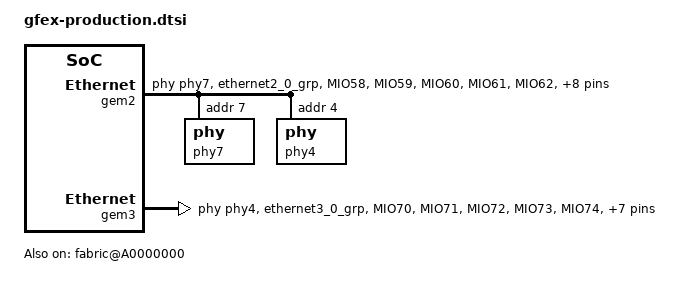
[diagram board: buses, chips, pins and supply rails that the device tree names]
&pinctrl0 {
	status = "okay";
	pinctrl_gem2_default: gem2-default {
		mux {
			function = "ethernet2";
			groups = "ethernet2_0_grp";
		};

		conf {
			groups = "ethernet2_0_grp";
			slew-rate = <1>;
			io-standard = <1>;
		};

		conf-rx {
			pins = "MIO58", "MIO59", "MIO60", "MIO61", "MIO62","MIO63";
			bias-high-impedance;
			low-power-disable;
		};

		conf-tx {
			pins = "MIO52", "MIO53", "MIO54", "MIO55", "MIO56","MIO57";
			bias-disable;
			low-power-enable;
		};

		mux-mdio {
			function = "mdio2";
			groups = "mdio2_0_grp";
		};

		conf-mdio {
			groups = "mdio2_0_grp";
			slew-rate = <1>;
			io-standard = <1>;
			bias-disable;
		};
	};
	pinctrl_gem3_default: gem3-default {
		mux {
			function = "ethernet3";
			groups = "ethernet3_0_grp";
		};

		conf {
			groups = "ethernet3_0_grp";
			slew-rate = <1>;
			io-standard = <1>;
		};

		conf-rx {
			pins = "MIO70", "MIO71", "MIO72", "MIO73", "MIO74","MIO75";
			bias-high-impedance;
			low-power-disable;
		};

		conf-tx {
			pins = "MIO64", "MIO65", "MIO66", "MIO67", "MIO68","MIO69";
			bias-disable;
			low-power-enable;
		};
	};

  pinctrl_sdhci1_default: sdhci1-default {
		mux {
			groups = "sdio1_0_grp";
			function = "sdio1";
		};

		conf {
			groups = "sdio1_0_grp";
			slew-rate = <1>;
			io-standard = <1>;
			bias-disable;
		};

                /*
		mux-cd {
			groups = "sdio1_0_cd_grp";
			function = "sdio1_cd";
		};

		conf-cd {
			groups = "sdio1_0_cd_grp";
			bias-high-impedance;
			bias-pull-up;
			slew-rate = <1>;
			io-standard = <1>;
		};

		mux-wp {
			groups = "sdio1_0_wp_grp";
			function = "sdio1_wp";
		};

		conf-wp {
			groups = "sdio1_0_wp_grp";
			bias-high-impedance;
			bias-pull-up;
			slew-rate = <1>;
			io-standard = <1>;
		};*/
	};
};

                                                                                                                             
&gem2 {
    local-mac-address = [00 0a 35 00 00 4A];
    phy-handle = <&phy7>;
    pinctrl-names = "default";
    pinctrl-0 = <&pinctrl_gem2_default>;
    phy7: phy@7 {
        reg = <0x7>;
        ti,rx-internal-delay = <0x8>;
        ti,tx-internal-delay = <0xa>;
        ti,fifo-depth = <0x1>;
        ti,rxctrl-strap-worka;
	};  
    phy4: phy@4 {
        reg = <0x4>;
        ti,rx-internal-delay = <0x8>;
        ti,tx-internal-delay = <0xa>;
        ti,fifo-depth = <0x1>;
        ti,rxctrl-strap-worka;
    };
};

&gem3 {
    local-mac-address = [00 0a 35 00 00 4B];
    phy-handle = <&phy4>;
    pinctrl-names = "default";
    pinctrl-0 = <&pinctrl_gem3_default>;
};
                                                              
                                                           
&sdhci1 {                                                        
  disable-wp;                                                    
  disable-cd;                                                                                                           
  broken-tuning;                                                 
  no-1-8-v;                                                                                                               
};                                                               

&{/amba} {
	 xlnk {
		compatible = "xlnx,xlnk-1.0";
	 };
	 fabric@A0000000 {
		compatible = "generic-uio";
		reg = <0x0 0xA0001000 0x0 0x1000>;
		status = "okay";
		interrupt-parent = <&gic>;
		interrupts = <0 89 4>;
	};

};
